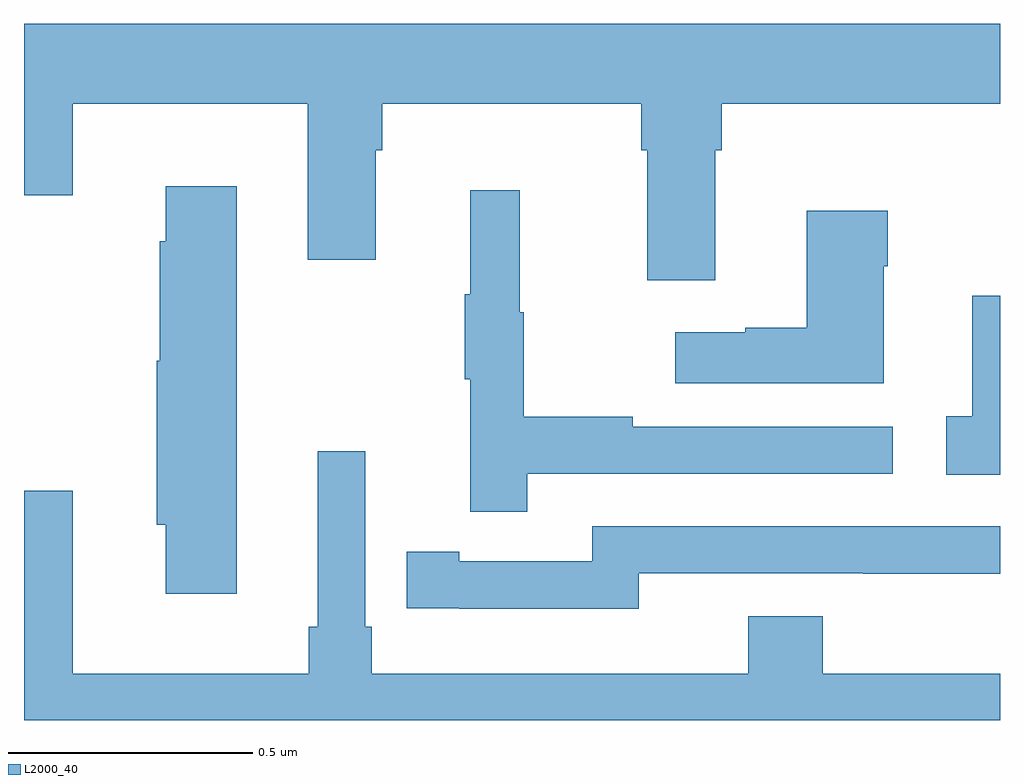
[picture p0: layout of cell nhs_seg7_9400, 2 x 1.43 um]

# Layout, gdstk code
import gdstk
lib = gdstk.Library(unit=1e-6, precision=1e-09)
def P(c, l, *ps):  # polygons
    for p in ps: c.add(gdstk.Polygon(p, *l))
L2000_40 = (2000, 40)

nhs_seg7_9400 = lib.new_cell('nhs_seg7_9400')
P(nhs_seg7_9400, L2000_40, [(237,1019.076),(237.1,1019.076),(237.1,1019.264),(237.581,1019.264),(237.581,1018.944),(237.721,1018.944),(237.721,1019.168),(237.734,1019.168),(237.734,1019.264),(238.265,1019.264),(238.265,1019.168),(238.277,1019.168),(238.277,1018.902),(238.417,1018.902),(238.417,1019.168),(238.43,1019.168),(238.43,1019.264),(239,1019.264),(239,1019.428),(237,1019.428)],
  [(237.436,1019.095),(237.29,1019.095),(237.29,1018.982),(237.278,1018.982),(237.278,1018.737),(237.272,1018.737),(237.272,1018.401),(237.29,1018.401),(237.29,1018.26),(237.436,1018.26)],
  [(238.031,1018.506),(238.78,1018.506),(238.78,1018.602),(238.247,1018.602),(238.247,1018.622),(238.024,1018.622),(238.024,1018.836),(238.016,1018.836),(238.016,1019.086),(237.914,1019.086),(237.914,1018.873),(237.903,1018.873),(237.903,1018.699),(237.914,1018.699),(237.914,1018.428),(238.031,1018.428)],
  [(238.762,1018.931),(238.77,1018.931),(238.77,1019.044),(238.604,1019.044),(238.604,1018.805),(238.478,1018.805),(238.478,1018.795),(238.335,1018.795),(238.335,1018.691),(238.762,1018.691)],
  [(239,1018.87),(238.943,1018.87),(238.943,1018.623),(238.89,1018.623),(238.89,1018.503),(239,1018.503)],
  [(239,1018.096),(238.637,1018.096),(238.637,1018.213),(238.484,1018.213),(238.484,1018.096),(237.713,1018.096),(237.713,1018.192),(237.699,1018.192),(237.699,1018.552),(237.602,1018.552),(237.602,1018.192),(237.583,1018.192),(237.583,1018.096),(237.1,1018.096),(237.1,1018.471),(237,1018.471),(237,1018),(239,1018)],
  [(238.26,1018.302),(238.72,1018.302),(238.72,1018.301),(239,1018.301),(239,1018.398),(238.164,1018.398),(238.164,1018.326),(237.892,1018.326),(237.892,1018.346),(237.784,1018.346),(237.784,1018.23),(237.892,1018.23),(237.892,1018.229),(238.26,1018.229)])

lib.write_gds('nhs_seg7_9400.gds')
